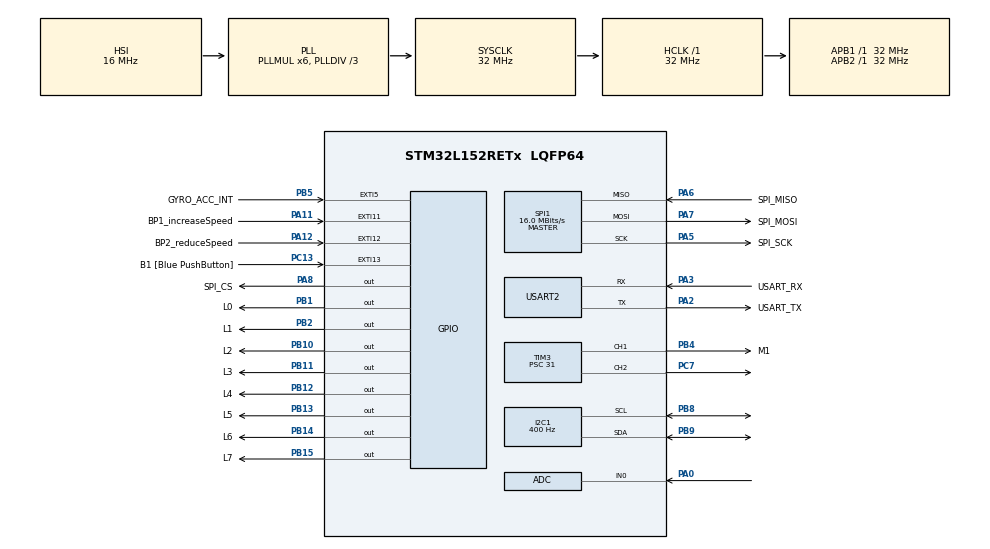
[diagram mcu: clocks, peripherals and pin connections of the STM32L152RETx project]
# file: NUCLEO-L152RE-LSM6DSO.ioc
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ADC.Channel-0\#ChannelRegularConversion=ADC_CHANNEL_0
ADC.NbrOfConversionFlag=1
ADC.Rank-0\#ChannelRegularConversion=1
ADC.SamplingTime-0\#ChannelRegularConversion=ADC_SAMPLETIME_4CYCLES
I2C1.ClockSpeed=400
I2C1.I2C_Mode=I2C_Fast
Mcu.Family=STM32L1
Mcu.Name=STM32L152RETx
Mcu.Package=LQFP64
NVIC.ADC1_IRQn=true\:0\:0\:false\:false\:true\:true\:true\:true
NVIC.EXTI15_10_IRQn=true\:0\:0\:false\:false\:true\:true\:true\:true
NVIC.EXTI9_5_IRQn=true\:0\:0\:false\:false\:true\:true\:true\:true
NVIC.PriorityGroup=NVIC_PRIORITYGROUP_0
NVIC.TIM6_IRQn=true\:0\:0\:false\:false\:true\:true\:true\:true
PA0-WKUP1.Mode=IN0
PA0-WKUP1.Signal=ADC_IN0
PA11.GPIO_Label=BP1_increaseSpeed
PA11.Signal=GPXTI11
PA12.GPIO_Label=BP2_reduceSpeed
PA12.Signal=GPXTI12
PA2.GPIO_Label=USART_TX
PA2.Mode=Asynchronous
PA2.Signal=USART2_TX
PA3.GPIO_Label=USART_RX
PA3.Mode=Asynchronous
PA3.Signal=USART2_RX
PA5.GPIO_Label=SPI_SCK
PA5.Mode=Full_Duplex_Master
PA5.Signal=SPI1_SCK
PA6.GPIO_Label=SPI_MISO
PA6.Mode=Full_Duplex_Master
PA6.Signal=SPI1_MISO
PA7.GPIO_Label=SPI_MOSI
PA7.Mode=Full_Duplex_Master
PA7.Signal=SPI1_MOSI
PA8.GPIO_Label=SPI_CS
PA8.GPIO_PuPd=GPIO_PULLUP
PA8.Signal=GPIO_Output
PB1.GPIO_Label=L0
PB1.Signal=GPIO_Output
PB10.GPIO_Label=L2
PB10.Signal=GPIO_Output
PB11.GPIO_Label=L3
PB11.Signal=GPIO_Output
PB12.GPIO_Label=L4
PB12.Signal=GPIO_Output
PB13.GPIO_Label=L5
PB13.Signal=GPIO_Output
PB14.GPIO_Label=L6
PB14.Signal=GPIO_Output
PB15.GPIO_Label=L7
PB15.Signal=GPIO_Output
PB2.GPIO_Label=L1
PB2.Signal=GPIO_Output
PB4.GPIO_Label=M1
PB4.Signal=S_TIM3_CH1
PB5.GPIO_Label=GYRO_ACC_INT
PB5.Signal=GPXTI5
PB8.Mode=I2C
PB8.Signal=I2C1_SCL
PB9.Mode=I2C
PB9.Signal=I2C1_SDA
PC13-WKUP2.GPIO_Label=B1 [Blue PushButton]
PC13-WKUP2.Signal=GPXTI13
PC7.Signal=S_TIM3_CH2
ProjectManager.HeapSize=0x200
ProjectManager.StackSize=0x400
ProjectManager.TargetToolchain=STM32CubeIDE
RCC.48MHZClocksFreq_Value=48000000
RCC.AHBFreq_Value=32000000
RCC.APB1Freq_Value=32000000
RCC.APB1TimFreq_Value=32000000
RCC.APB2Freq_Value=32000000
RCC.APB2TimFreq_Value=32000000
RCC.HCLKFreq_Value=32000000
RCC.HSE_VALUE=8000000
RCC.HSI_VALUE=16000000
RCC.LSE_VALUE=32768
RCC.MSI_VALUE=2097000
RCC.PLLDIV=RCC_PLL_DIV3
RCC.PLLMUL=RCC_PLL_MUL6
RCC.RTCClockSelectionVirtual=RCC_RTCCLKSOURCE_LSE
RCC.SYSCLKFreq_VALUE=32000000
RCC.SYSCLKSource=RCC_SYSCLKSOURCE_PLLCLK
RCC.USBOutput=48000000
RCC.VCOOutputFreq_Value=96000000
SH.S_TIM3_CH1.0=TIM3_CH1,PWM Generation1 CH1
SH.S_TIM3_CH2.0=TIM3_CH2,PWM Generation2 CH2
SPI1.CalculateBaudRate=16.0 MBits/s
SPI1.Direction=SPI_DIRECTION_2LINES
SPI1.Mode=SPI_MODE_MASTER
SPI1.VirtualType=VM_MASTER
TIM3.Channel-PWM\ Generation1\ CH1=TIM_CHANNEL_1
TIM3.Channel-PWM\ Generation2\ CH2=TIM_CHANNEL_2
TIM3.Period=2278
TIM3.Prescaler=31
TIM3.Pulse-PWM\ Generation1\ CH1=500
TIM3.Pulse-PWM\ Generation2\ CH2=1845
TIM6.Period=200
TIM6.Prescaler=31999
USART2.VirtualMode=VM_ASYNC
VP_TIM3_VS_ClockSourceINT.Mode=Internal
VP_TIM6_VS_ClockSourceINT.Mode=Enable_Timer
board=NUCLEO-L152RE

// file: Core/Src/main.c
/* USER CODE BEGIN Header */
/**
  ******************************************************************************
  * @file           : main.c
  * @brief          : Main program body
  ******************************************************************************
  * @attention
  *
  * Copyright (c) 2025 STMicroelectronics.
  * All rights reserved.
  *
  * This software is licensed under terms that can be found in the LICENSE file
  * in the root directory of this software component.
  * If no LICENSE file comes with this software, it is provided AS-IS.
  *
  ******************************************************************************
  */
/* USER CODE END Header */
#include "main.h"

/* USER CODE BEGIN Includes */
#include "lsm6dso_reg.h"
#include "knowledge.h"
#include "NanoEdgeAI.h"
#include "max7219_Yncrea2.h"

/* USER CODE END Includes */

/* USER CODE BEGIN PD */
/************************************************************ NEAI algorithm defines begin ************************************************************/
/************************************************************ Global settings part ************************************************************/
#ifndef AXIS
  #define AXIS                          3                       /* Axis should be defined between 1 and 3 */
#endif
#ifndef SAMPLES
  #define SAMPLES                       128                     /* Should be between 16 & 4096 */
#endif
#define MAX_FIFO_SIZE                   256                     /* The maximum number of data we can get in the FIFO is 512 but here we define max to 256 for our need */
#define FIFO_FULL                       512                     /* FIFO full size */
#define FIFO_WORD                       7                       /* FIFO word size composed of 1 byte which is identification tag & 6 bytes of fixed data */
/************************************************************ Sensor type part ************************************************************/
#define ACCELEROMETER                                           /* Could be either ACCELEROMETER or GYROSCOPE */
/************************************************************ Sensors configuration part ************************************************************/
#ifdef ACCELEROMETER
  #ifndef ACCELEROMETER_ODR
    #define ACCELEROMETER_ODR           LSM6DSO_XL_ODR_417Hz   /* Shoud be between LSM6DSO_XL_ODR_12Hz5 and LSM6DSO_XL_ODR_6667Hz */
  #endif
  #ifndef ACCELEROMETER_FS
    #define ACCELEROMETER_FS            LSM6DSO_4g              /* Should be between LSM6DSO_2g and LSM6DSO_16g */
  #endif
#else
  #ifndef GYROSCOPE_ODR
    #define GYROSCOPE_ODR               LSM6DSO_GY_ODR_1667Hz   /* Shoud be between LSM6DSO_GY_ODR_12Hz5 and LSM6DSO_GY_ODR_6667Hz */
  #endif
  #ifndef GYROSCOPE_FS
    #define GYROSCOPE_FS                LSM6DSO_2000dps         /* Should be between LSM6DSO_125dps and LSM6DSO_2000dps */
  #endif
#endif
/************************************************************ Datalogger / NEAI mode part ************************************************************/
#ifndef NEAI_MODE
  #define NEAI_MODE                     1                       /* 0: Datalogger mode, 1: NEAI functions mode */
#endif
// #if (NEAI_MODE == 1)
//   #ifndef NEAI_LEARN_NB
//     #define NEAI_LEARN_NB               20                      /* Number of buffers to be learn by the NEAI library */
//   #endif
// #endif
#if (NEAI_MODE)
#ifndef NB_CLASSES
#define NB_CLASSES 3 /* Number of NEAI classes */
#endif
#endif
/************************************************************ NEAI algorithm defines end ************************************************************/
/* USER CODE END PD */

ADC_HandleTypeDef hadc;

I2C_HandleTypeDef hi2c1;

SPI_HandleTypeDef hspi1;

TIM_HandleTypeDef htim3;
TIM_HandleTypeDef htim6;

UART_HandleTypeDef huart2;

/* USER CODE BEGIN PV */
static int16_t data_raw_acceleration[3];
static uint8_t whoamI, rst;
uint8_t neai_similarity = 0, neai_state = 0, first_comm = 1;
uint16_t sample_index = 0, id_class = 0;
volatile uint8_t drdy = 0;
uint16_t neai_cnt = 0, neai_buffer_ptr = 0, drdy_counter = 0;
float neai_time = 0.0;
float neai_buffer[AXIS * SAMPLES] = {0};
stmdev_ctx_t dev_ctx;
uint8_t previous_class = 0;  // Pour détecter les changements de mouvement
uint32_t last_movement_time = 0;  // Pour éviter les exécutions trop fréquentes
uint8_t debounce_flag = 0;
uint8_t flag_irq = 0;
uint32_t flag_ccr1 = 0;
uint32_t digitalValue = 0;

#if (NEAI_MODE)
static float class_output_buffer[NB_CLASSES];
const char *id2class[NB_CLASSES + 2] = {"unknown", "up-down", "forward-backward", "static", "circle"};
#endif
/* USER CODE END PV */

void SystemClock_Config(void);
static void MX_GPIO_Init(void);
static void MX_I2C1_Init(void);
static void MX_USART2_UART_Init(void);
static void MX_SPI1_Init(void);
static void MX_TIM6_Init(void);
static void MX_ADC_Init(void);
static void MX_TIM3_Init(void);
/* USER CODE BEGIN PFP */
static int32_t platform_write(void *handle, uint8_t reg, const uint8_t *bufp, uint16_t len);
static int32_t platform_read(void *handle, uint8_t reg, uint8_t *bufp, uint16_t len);
static void lsm6dso_initialize(void);
static void lsm6dso_initialize_basics(void);
static void lsm6dso_initialize_fifo(void);
static void lsm6dso_get_buffer_from_fifo(uint16_t nb);
static float lsm6dso_convert_gyro_data_to_mdps(int16_t gyro_raw_data);
static float lsm6dso_convert_accel_data_to_mg(int16_t accel_raw_data);
static void iks01a3_i2c_stuck_quirk(void);

/* USER CODE END PFP */

int main(void)
{

  /* USER CODE BEGIN 1 */
  /* Initialize mems driver interface */
  dev_ctx.write_reg = platform_write;
  dev_ctx.read_reg = platform_read;
  dev_ctx.handle = &hi2c1;
  /* USER CODE END 1 */

  /* MCU Configuration--------------------------------------------------------*/

  /* Reset of all peripherals, Initializes the Flash interface and the Systick. */
  HAL_Init();

  /* Configure the system clock */
  SystemClock_Config();

  /* USER CODE BEGIN SysInit */
  iks01a3_i2c_stuck_quirk();
  /* USER CODE END SysInit */

  /* Initialize all configured peripherals */
  MX_GPIO_Init();
  MX_I2C1_Init();
  MX_USART2_UART_Init();
  MX_SPI1_Init();
  MX_TIM6_Init();
  MX_ADC_Init();
  MX_TIM3_Init();
  /* USER CODE BEGIN 2 */
  MAX7219_Init();
  lsm6dso_initialize();
  if (NEAI_MODE) {
    neai_state = neai_classification_init(knowledge);
    printf("Initialize NEAI library. NEAI init return: %d.\n",  neai_state);
  }
  /* USER CODE END 2 */

  /* Infinite loop */
  /* USER CODE BEGIN WHILE */
  while (1)
  {
	  if (drdy) {
		  /* Reset data ready condition */
		  drdy = 0;
		  /* Read acceleration data */
		  memset(data_raw_acceleration, 0x00, 3 * sizeof(int16_t));
		  lsm6dso_acceleration_raw_get(&dev_ctx, data_raw_acceleration);
		  for (uint8_t i = 0; i < AXIS; i++) {
			  neai_buffer[(AXIS * drdy_counter) + i] = lsm6dso_convert_accel_data_to_mg(data_raw_acceleration[i]);
		  }
		  drdy_counter++;
		  if (drdy_counter >= SAMPLES) {
			  /* Set Output Data Rate */
			  lsm6dso_xl_data_rate_set(&dev_ctx, LSM6DSO_XL_ODR_OFF);
#if (NEAI_MODE)
			  neai_state = neai_classification(neai_buffer, class_output_buffer, &id_class);
			  printf("Class: %s. NEAI classification return: %d.\r\n", id2class[id_class], neai_state);
			  handleMovementActions();
#else
			  for (uint16_t i = 0; i < AXIS * SAMPLES; i++) {
				  printf("%.3f ", neai_buffer[i]);
			  }
			  printf("\r\n");
#endif
			  /* Reset drdy_counter in order to get a new buffer */
			  drdy_counter = 0;
			  /* Clean neai buffer */
			  memset(neai_buffer, 0x00, AXIS * SAMPLES * sizeof(float));
			  /* Set Output Data Rate */
			  lsm6dso_xl_data_rate_set(&dev_ctx, ACCELEROMETER_ODR);
		  }
	  }
    /* USER CODE END WHILE */

  }
}

void SystemClock_Config(void)
{
  RCC_OscInitTypeDef RCC_OscInitStruct = {0};
  RCC_ClkInitTypeDef RCC_ClkInitStruct = {0};

  /** Configure the main internal regulator output voltage
  */
  __HAL_PWR_VOLTAGESCALING_CONFIG(PWR_REGULATOR_VOLTAGE_SCALE1);

  /** Initializes the RCC Oscillators according to the specified parameters
  * in the RCC_OscInitTypeDef structure.
  */
  RCC_OscInitStruct.OscillatorType = RCC_OSCILLATORTYPE_HSI;
  RCC_OscInitStruct.HSIState = RCC_HSI_ON;
  RCC_OscInitStruct.HSICalibrationValue = RCC_HSICALIBRATION_DEFAULT;
  RCC_OscInitStruct.PLL.PLLState = RCC_PLL_ON;
  RCC_OscInitStruct.PLL.PLLSource = RCC_PLLSOURCE_HSI;
  RCC_OscInitStruct.PLL.PLLMUL = RCC_PLL_MUL6;
  RCC_OscInitStruct.PLL.PLLDIV = RCC_PLL_DIV3;
  if (HAL_RCC_OscConfig(&RCC_OscInitStruct) != HAL_OK)
  {
    Error_Handler();
  }

  /** Initializes the CPU, AHB and APB buses clocks
  */
  RCC_ClkInitStruct.ClockType = RCC_CLOCKTYPE_HCLK|RCC_CLOCKTYPE_SYSCLK
                              |RCC_CLOCKTYPE_PCLK1|RCC_CLOCKTYPE_PCLK2;
  RCC_ClkInitStruct.SYSCLKSource = RCC_SYSCLKSOURCE_PLLCLK;
  RCC_ClkInitStruct.AHBCLKDivider = RCC_SYSCLK_DIV1;
  RCC_ClkInitStruct.APB1CLKDivider = RCC_HCLK_DIV1;
  RCC_ClkInitStruct.APB2CLKDivider = RCC_HCLK_DIV1;

  if (HAL_RCC_ClockConfig(&RCC_ClkInitStruct, FLASH_LATENCY_1) != HAL_OK)
  {
    Error_Handler();
  }
}

static void MX_ADC_Init(void)
{

  ADC_ChannelConfTypeDef sConfig = {0};

  /** Configure the global features of the ADC (Clock, Resolution, Data Alignment and number of conversion)
  */
  hadc.Instance = ADC1;
  hadc.Init.ClockPrescaler = ADC_CLOCK_ASYNC_DIV1;
  hadc.Init.Resolution = ADC_RESOLUTION_12B;
  hadc.Init.DataAlign = ADC_DATAALIGN_RIGHT;
  hadc.Init.ScanConvMode = ADC_SCAN_DISABLE;
  hadc.Init.EOCSelection = ADC_EOC_SEQ_CONV;
  hadc.Init.LowPowerAutoWait = ADC_AUTOWAIT_DISABLE;
  hadc.Init.LowPowerAutoPowerOff = ADC_AUTOPOWEROFF_DISABLE;
  hadc.Init.ChannelsBank = ADC_CHANNELS_BANK_A;
  hadc.Init.ContinuousConvMode = DISABLE;
  hadc.Init.NbrOfConversion = 1;
  hadc.Init.DiscontinuousConvMode = DISABLE;
  hadc.Init.ExternalTrigConv = ADC_SOFTWARE_START;
  hadc.Init.ExternalTrigConvEdge = ADC_EXTERNALTRIGCONVEDGE_NONE;
  hadc.Init.DMAContinuousRequests = DISABLE;
  if (HAL_ADC_Init(&hadc) != HAL_OK)
  {
    Error_Handler();
  }

  /** Configure for the selected ADC regular channel its corresponding rank in the sequencer and its sample time.
  */
  sConfig.Channel = ADC_CHANNEL_0;
  sConfig.Rank = ADC_REGULAR_RANK_1;
  sConfig.SamplingTime = ADC_SAMPLETIME_4CYCLES;
  if (HAL_ADC_ConfigChannel(&hadc, &sConfig) != HAL_OK)
  {
    Error_Handler();
  }

}

static void MX_I2C1_Init(void)
{

  hi2c1.Instance = I2C1;
  hi2c1.Init.ClockSpeed = 400;
  hi2c1.Init.DutyCycle = I2C_DUTYCYCLE_2;
  hi2c1.Init.OwnAddress1 = 0;
  hi2c1.Init.AddressingMode = I2C_ADDRESSINGMODE_7BIT;
  hi2c1.Init.DualAddressMode = I2C_DUALADDRESS_DISABLE;
  hi2c1.Init.OwnAddress2 = 0;
  hi2c1.Init.GeneralCallMode = I2C_GENERALCALL_DISABLE;
  hi2c1.Init.NoStretchMode = I2C_NOSTRETCH_DISABLE;
  if (HAL_I2C_Init(&hi2c1) != HAL_OK)
  {
    Error_Handler();
  }

}

static void MX_SPI1_Init(void)
{

  /* SPI1 parameter configuration*/
  hspi1.Instance = SPI1;
  hspi1.Init.Mode = SPI_MODE_MASTER;
  hspi1.Init.Direction = SPI_DIRECTION_2LINES;
  hspi1.Init.DataSize = SPI_DATASIZE_8BIT;
  hspi1.Init.CLKPolarity = SPI_POLARITY_LOW;
  hspi1.Init.CLKPhase = SPI_PHASE_1EDGE;
  hspi1.Init.NSS = SPI_NSS_SOFT;
  hspi1.Init.BaudRatePrescaler = SPI_BAUDRATEPRESCALER_2;
  hspi1.Init.FirstBit = SPI_FIRSTBIT_MSB;
  hspi1.Init.TIMode = SPI_TIMODE_DISABLE;
  hspi1.Init.CRCCalculation = SPI_CRCCALCULATION_DISABLE;
  hspi1.Init.CRCPolynomial = 10;
  if (HAL_SPI_Init(&hspi1) != HAL_OK)
  {
    Error_Handler();
  }

}

static void MX_TIM3_Init(void)
{

  TIM_ClockConfigTypeDef sClockSourceConfig = {0};
  TIM_MasterConfigTypeDef sMasterConfig = {0};
  TIM_OC_InitTypeDef sConfigOC = {0};

  htim3.Instance = TIM3;
  htim3.Init.Prescaler = 31;
  htim3.Init.CounterMode = TIM_COUNTERMODE_UP;
  htim3.Init.Period = 2278;
  htim3.Init.ClockDivision = TIM_CLOCKDIVISION_DIV1;
  htim3.Init.AutoReloadPreload = TIM_AUTORELOAD_PRELOAD_DISABLE;
  if (HAL_TIM_Base_Init(&htim3) != HAL_OK)
  {
    Error_Handler();
  }
  sClockSourceConfig.ClockSource = TIM_CLOCKSOURCE_INTERNAL;
  if (HAL_TIM_ConfigClockSource(&htim3, &sClockSourceConfig) != HAL_OK)
  {
    Error_Handler();
  }
  if (HAL_TIM_PWM_Init(&htim3) != HAL_OK)
  {
    Error_Handler();
  }
  sMasterConfig.MasterOutputTrigger = TIM_TRGO_RESET;
  sMasterConfig.MasterSlaveMode = TIM_MASTERSLAVEMODE_DISABLE;
  if (HAL_TIMEx_MasterConfigSynchronization(&htim3, &sMasterConfig) != HAL_OK)
  {
    Error_Handler();
  }
  sConfigOC.OCMode = TIM_OCMODE_PWM1;
  sConfigOC.Pulse = 500;
  sConfigOC.OCPolarity = TIM_OCPOLARITY_HIGH;
  sConfigOC.OCFastMode = TIM_OCFAST_DISABLE;
  if (HAL_TIM_PWM_ConfigChannel(&htim3, &sConfigOC, TIM_CHANNEL_1) != HAL_OK)
  {
    Error_Handler();
  }
  sConfigOC.Pulse = 1845;
  if (HAL_TIM_PWM_ConfigChannel(&htim3, &sConfigOC, TIM_CHANNEL_2) != HAL_OK)
  {
    Error_Handler();
  }
  HAL_TIM_MspPostInit(&htim3);

}

static void MX_TIM6_Init(void)
{

  TIM_MasterConfigTypeDef sMasterConfig = {0};

  htim6.Instance = TIM6;
  htim6.Init.Prescaler = 31999;
  htim6.Init.CounterMode = TIM_COUNTERMODE_UP;
  htim6.Init.Period = 200;
  htim6.Init.AutoReloadPreload = TIM_AUTORELOAD_PRELOAD_DISABLE;
  if (HAL_TIM_Base_Init(&htim6) != HAL_OK)
  {
    Error_Handler();
  }
  sMasterConfig.MasterOutputTrigger = TIM_TRGO_RESET;
  sMasterConfig.MasterSlaveMode = TIM_MASTERSLAVEMODE_DISABLE;
  if (HAL_TIMEx_MasterConfigSynchronization(&htim6, &sMasterConfig) != HAL_OK)
  {
    Error_Handler();
  }

}

static void MX_USART2_UART_Init(void)
{

  huart2.Instance = USART2;
  huart2.Init.BaudRate = 115200;
  huart2.Init.WordLength = UART_WORDLENGTH_8B;
  huart2.Init.StopBits = UART_STOPBITS_1;
  huart2.Init.Parity = UART_PARITY_NONE;
  huart2.Init.Mode = UART_MODE_TX_RX;
  huart2.Init.HwFlowCtl = UART_HWCONTROL_NONE;
  huart2.Init.OverSampling = UART_OVERSAMPLING_16;
  if (HAL_UART_Init(&huart2) != HAL_OK)
  {
    Error_Handler();
  }

}

static void MX_GPIO_Init(void)
{
  GPIO_InitTypeDef GPIO_InitStruct = {0};

  /* GPIO Ports Clock Enable */
  __HAL_RCC_GPIOC_CLK_ENABLE();
  __HAL_RCC_GPIOA_CLK_ENABLE();
  __HAL_RCC_GPIOB_CLK_ENABLE();

  /*Configure GPIO pin Output Level */
  HAL_GPIO_WritePin(GPIOB, L0_Pin|L1_Pin|L2_Pin|L3_Pin
                          |L4_Pin|L5_Pin|L6_Pin|L7_Pin, GPIO_PIN_RESET);

  /*Configure GPIO pin Output Level */
  HAL_GPIO_WritePin(SPI_CS_GPIO_Port, SPI_CS_Pin, GPIO_PIN_RESET);

  /*Configure GPIO pin : B1_Pin */
  GPIO_InitStruct.Pin = B1_Pin;
  GPIO_InitStruct.Mode = GPIO_MODE_IT_RISING;
  GPIO_InitStruct.Pull = GPIO_NOPULL;
  HAL_GPIO_Init(B1_GPIO_Port, &GPIO_InitStruct);

  /*Configure GPIO pins : L0_Pin L1_Pin L2_Pin L3_Pin
                           L4_Pin L5_Pin L6_Pin L7_Pin */
  GPIO_InitStruct.Pin = L0_Pin|L1_Pin|L2_Pin|L3_Pin
                          |L4_Pin|L5_Pin|L6_Pin|L7_Pin;
  GPIO_InitStruct.Mode = GPIO_MODE_OUTPUT_PP;
  GPIO_InitStruct.Pull = GPIO_NOPULL;
  GPIO_InitStruct.Speed = GPIO_SPEED_FREQ_LOW;
  HAL_GPIO_Init(GPIOB, &GPIO_InitStruct);

  /*Configure GPIO pin : SPI_CS_Pin */
  GPIO_InitStruct.Pin = SPI_CS_Pin;
  GPIO_InitStruct.Mode = GPIO_MODE_OUTPUT_PP;
  GPIO_InitStruct.Pull = GPIO_PULLUP;
  GPIO_InitStruct.Speed = GPIO_SPEED_FREQ_LOW;
  HAL_GPIO_Init(SPI_CS_GPIO_Port, &GPIO_InitStruct);

  /*Configure GPIO pins : BP1_increaseSpeed_Pin BP2_reduceSpeed_Pin */
  GPIO_InitStruct.Pin = BP1_increaseSpeed_Pin|BP2_reduceSpeed_Pin;
  GPIO_InitStruct.Mode = GPIO_MODE_IT_RISING;
  GPIO_InitStruct.Pull = GPIO_NOPULL;
  HAL_GPIO_Init(GPIOA, &GPIO_InitStruct);

  /*Configure GPIO pin : GYRO_ACC_INT_Pin */
  GPIO_InitStruct.Pin = GYRO_ACC_INT_Pin;
  GPIO_InitStruct.Mode = GPIO_MODE_IT_RISING;
  GPIO_InitStruct.Pull = GPIO_NOPULL;
  HAL_GPIO_Init(GYRO_ACC_INT_GPIO_Port, &GPIO_InitStruct);

  /* EXTI interrupt init*/
  HAL_NVIC_SetPriority(EXTI9_5_IRQn, 0, 0);
  HAL_NVIC_EnableIRQ(EXTI9_5_IRQn);

  HAL_NVIC_SetPriority(EXTI15_10_IRQn, 0, 0);
  HAL_NVIC_EnableIRQ(EXTI15_10_IRQn);

}

/* USER CODE BEGIN 4 */
/**
  * @brief  Redirecting stdout to USART2 which is connected on the STLINK port
  * @retval
  * @param
  */
int __io_putchar(int ch)
{
 uint8_t c[1];
 c[0] = ch & 0x00FF;
 HAL_UART_Transmit(&huart2, &*c, 1, 10);
 return ch;
}

/**
  * @brief  EXTI line rising detection callback.
  * @param  GPIO_Pin Specifies the port pin connected to corresponding EXTI line.
  * @retval None
  */
void HAL_GPIO_EXTI_Callback(uint16_t GPIO_Pin)
{
	switch(GPIO_Pin) {
	  case GYRO_ACC_INT_Pin:
		  drdy = 1;
		  break;

	  case BP1_increaseSpeed_Pin:
		  if (!debounce_flag) {
			  debounce_flag = 1;
			  __HAL_TIM_SET_COUNTER(&htim6, 0);
			  HAL_TIM_Base_Start_IT(&htim6);
			  if(TIM3->CCR1 < 1000) {
				  TIM3->CCR1 = TIM3->CCR1 + 125;
				  printf("Motor speed:%lu\r\n", TIM3->CCR1);
			  } else {
				  printf("Motor speed at already at max speed:%lu\r\n", TIM3->CCR1);
			  }
			  flag_ccr1 = TIM3->CCR1;
		  }

	  case BP2_reduceSpeed_Pin:
		  if (!debounce_flag) {
			  debounce_flag = 1;
			  __HAL_TIM_SET_COUNTER(&htim6, 0);
			  HAL_TIM_Base_Start_IT(&htim6);
			  if(TIM3->CCR1 > 125) {
				  TIM3->CCR1 = TIM3->CCR1 - 125;
				  printf("Motor speed:%lu\r\n", TIM3->CCR1);
			  } else {
				  printf("Motor speed at already at min speed:%lu\r\n", TIM3->CCR1);
			  }
			  flag_ccr1 = TIM3->CCR1;
		  }
	}
}

/*
 * @brief  Write generic device register (platform dependent)
 *
 * @param  handle    customizable argument. In this examples is used in
 *                   order to select the correct sensor bus handler.
 * @param  reg       register to write
 * @param  bufp      pointer to data to write in register reg
 * @param  len       number of consecutive register to write
 *
 */
static int32_t platform_write(void *handle, uint8_t reg, const uint8_t *bufp,
                              uint16_t len)
{
  HAL_I2C_Mem_Write(handle, LSM6DSO_I2C_ADD_H, reg, I2C_MEMADD_SIZE_8BIT, (uint8_t*) bufp, len, 1000);
  return 0;
}

/*
 * @brief  Read generic device register (platform dependent)
 *
 * @param  handle    customizable argument. In this examples is used in
 *                   order to select the correct sensor bus handler.
 * @param  reg       register to read
 * @param  bufp      pointer to buffer that store the data read
 * @param  len       number of consecutive register to read
 *
 */
static int32_t platform_read(void *handle, uint8_t reg, uint8_t *bufp,
                             uint16_t len)
{
  HAL_I2C_Mem_Read(handle, LSM6DSO_I2C_ADD_H, reg, I2C_MEMADD_SIZE_8BIT, bufp, len, 1000);
  return 0;
}

/*
 * @brief  Initialize LSM6DSO sensor interface
 *
 * @param  No
 *
 * @return No
 *
 */
static void lsm6dso_initialize()
{
  lsm6dso_initialize_basics();
#ifdef ACCELEROMETER
  /* Accelelerometer configuration */
  lsm6dso_xl_data_rate_set(&dev_ctx, ACCELEROMETER_ODR);
  lsm6dso_xl_full_scale_set(&dev_ctx, ACCELEROMETER_FS);
#else
  /* Gyroscope configuration */
  lsm6dso_gy_data_rate_set(&dev_ctx, GYROSCOPE_ODR);
  lsm6dso_gy_full_scale_set(&dev_ctx, GYROSCOPE_FS);
#endif
  lsm6dso_initialize_fifo();
}

/*
 * @brief  Initialize LSM6DSO basics
 *
 * @param  No
 *
 * @return No
 *
 */
static void lsm6dso_initialize_basics()
{
  /* Check device ID */
  whoamI = 0;

  do {
    HAL_Delay(20);
    lsm6dso_device_id_get(&dev_ctx, &whoamI);
  } while(whoamI != LSM6DSO_ID);

  /* Restore default configuration */
  lsm6dso_reset_set(&dev_ctx, PROPERTY_ENABLE);

  do {
    lsm6dso_reset_get(&dev_ctx, &rst);
  } while (rst);

  /* Disable I3C interface */
  lsm6dso_i3c_disable_set(&dev_ctx, LSM6DSO_I3C_DISABLE);
}

/*
 * @brief  Initialize LSM6DSO internal FIFO
 *
 * @param  No
 *
 * @return No
 *
 */
static void lsm6dso_initialize_fifo()
{
#ifdef ACCELEROMETER
  /* Batch odr config */
  lsm6dso_fifo_xl_batch_set(&dev_ctx, ACCELEROMETER_ODR);
  lsm6dso_fifo_gy_batch_set(&dev_ctx, 0);
#else
  /* Batch odr config */
  lsm6dso_fifo_xl_batch_set(&dev_ctx, 0);
  lsm6dso_fifo_gy_batch_set(&dev_ctx, GYROSCOPE_ODR);
#endif
  /* FIFO MODE */
  lsm6dso_fifo_mode_set(&dev_ctx, LSM6DSO_FIFO_MODE);
  /* Watermark config */
  if (SAMPLES <= MAX_FIFO_SIZE) {
    lsm6dso_fifo_watermark_set(&dev_ctx, (uint16_t) SAMPLES);
  }
  else {
    lsm6dso_fifo_watermark_set(&dev_ctx, (uint16_t) MAX_FIFO_SIZE);
  }
  /* Need to enable interrupt pin when wtm is reached */
  uint8_t ctrl = 0x08;
  lsm6dso_write_reg(&dev_ctx, LSM6DSO_INT1_CTRL, (uint8_t *) &ctrl, 1);

  /* Configuration de l'interrupt DATA_READY sur INT1 */
  lsm6dso_pin_int1_route_t int1_route = {0};
  int1_route.drdy_xl = 1;  // Active l'interrupt data-ready pour l'accéléromètre
  lsm6dso_pin_int1_route_set(&dev_ctx, int1_route);

  printf("Interrupt DATA_READY configuree sur INT1\n");
}

/*
 * @brief  Get accelerometer or gyroscope data from
 *         LSM6DSO using the internal FIFO buffer
 *
 * @param  No
 *
 * @return No
 *
 */
static void lsm6dso_get_buffer_from_fifo(uint16_t nb)
{
  uint8_t reg_tag = 0;
  uint8_t buff_tmp[nb * FIFO_WORD];
  /*
   * The data stored in FIFO are accessible from dedicated registers and each FIFO word is composed of 7
   * bytes: one tag byte (FIFO_DATA_OUT_TAG (78h)), in order to identify the sensor, and 6 bytes of fixed data
   * (FIFO_DATA_OUT registers from (79h) to (7Eh))
   * So, here we read the fifo in only one transaction in order to save time
   */
  lsm6dso_read_reg(&dev_ctx, LSM6DSO_FIFO_DATA_OUT_TAG, buff_tmp, nb * FIFO_WORD);
  for (uint16_t i = 0; i < nb; i++) {
    /* According to the datasheet, the TAG_SENSOR is the 5 MSB of the FIFO_DATA_OUT_TAG register, so we shift 3 bits to the right */
    reg_tag = buff_tmp[FIFO_WORD * i] >> 3;
    if(reg_tag == LSM6DSO_XL_NC_TAG) {
      for(uint8_t j = 0; j < AXIS; j++) {
	neai_buffer[(AXIS * neai_buffer_ptr) + (AXIS * i) + j] = lsm6dso_convert_accel_data_to_mg((uint16_t) buff_tmp[(FIFO_WORD * i) + (2 * j) + 2] << 8 | buff_tmp[(FIFO_WORD * i) + (2 * j) + 1]);
      }
    }
    else if(reg_tag == LSM6DSO_GYRO_NC_TAG) {
    for(uint8_t j = 0; j < AXIS; j++) {
      neai_buffer[(AXIS * neai_buffer_ptr) + (AXIS * i) + j] = lsm6dso_convert_gyro_data_to_mdps((uint16_t) buff_tmp[(FIFO_WORD * i) + (2 * j) + 2] << 8 | buff_tmp[(FIFO_WORD * i) + (2 * j) + 1]);
    }
    }
  }
  neai_buffer_ptr += nb;
  if (neai_buffer_ptr == SAMPLES) {
    neai_buffer_ptr = 0;
  }
}

/*
 * @brief  Convert gyroscope raw data to milli degrees per second (mdps)
 *
 * @param  gyro_raw_data: which is gyroscope raw data
 *                        depending on the full scale selected
 *
 * @return The converted value in milli degrees per second (mdps)
 *
 */
static float lsm6dso_convert_gyro_data_to_mdps(int16_t gyro_raw_data)
{
  float gyro_data_mdps = 0.0;
#ifdef GYROSCOPE
  switch (GYROSCOPE_FS)
  {
  case LSM6DSO_125dps:
    gyro_data_mdps = lsm6dso_from_fs125_to_mdps(gyro_raw_data);
    break;
  case LSM6DSO_250dps:
    gyro_data_mdps = lsm6dso_from_fs250_to_mdps(gyro_raw_data);
    break;
  case LSM6DSO_500dps:
    gyro_data_mdps = lsm6dso_from_fs500_to_mdps(gyro_raw_data);
    break;
  case LSM6DSO_1000dps:
    gyro_data_mdps = lsm6dso_from_fs1000_to_mdps(gyro_raw_data);
    break;
  case LSM6DSO_2000dps:
    gyro_data_mdps = lsm6dso_from_fs2000_to_mdps(gyro_raw_data);
    break;
  default:
    gyro_data_mdps = 0.0;
    break;
  }
#endif
  return gyro_data_mdps;
}

/*
 * @brief  Convert accelerometer raw data to milli-G' (mg)
 *
 * @param  accel_raw_data: which is accelerometer raw data
 *                        depending on the full scale selected
 *
 * @return The converted value in milli-G' (mg)
 *
 */
static float lsm6dso_convert_accel_data_to_mg(int16_t accel_raw_data)
{
  float accel_data_mg = 0.0;
#ifdef ACCELEROMETER
  switch (ACCELEROMETER_FS)
  {
  case LSM6DSO_2g:
    accel_data_mg = lsm6dso_from_fs2_to_mg(accel_raw_data);
    break;
  case LSM6DSO_4g:
    accel_data_mg = lsm6dso_from_fs4_to_mg(accel_raw_data);
    break;
  case LSM6DSO_8g:
    accel_data_mg = lsm6dso_from_fs8_to_mg(accel_raw_data);
    break;
  case LSM6DSO_16g:
    accel_data_mg = lsm6dso_from_fs16_to_mg(accel_raw_data);
    break;
  default:
    accel_data_mg = 0.0;
    break;
  }
#endif
  return accel_data_mg;
}

/*
 * Pressing the reset button while the sensor is answering to a read request
 * might lead to disaster.
 * In this case the device is stuck, waiting for pulses on SCL to finish the
 * previous transfer.
 * While stuck the sensor keep the SDA low.
 *
 * As a workaround we simply configure the SCL pin as a GPIO and send a burst
 * of pulses to bring the sensor back to an idle state.
 */
static void iks01a3_i2c_stuck_quirk(void)
{
  GPIO_InitTypeDef GPIO_InitStruct = {0};

  /* GPIO Ports Clock Enable */
  __HAL_RCC_GPIOB_CLK_ENABLE();

  /* Configure SCL as a GPIO */
  GPIO_InitStruct.Pin = SCL_PIN;
  GPIO_InitStruct.Mode = GPIO_MODE_OUTPUT_PP;
  GPIO_InitStruct.Pull = GPIO_NOPULL;
  GPIO_InitStruct.Speed = GPIO_SPEED_FREQ_LOW;
  GPIO_InitStruct.Alternate = GPIO_AF4_I2C1;
  HAL_GPIO_Init(SCL_PORT, &GPIO_InitStruct);

  /* Send a burst of pulses on SCL */
  int pulses = 20;
  do {
    HAL_Delay(1);
    HAL_GPIO_WritePin(SCL_PORT, SCL_PIN, GPIO_PIN_RESET);
    HAL_Delay(1);
    HAL_GPIO_WritePin(SCL_PORT, SCL_PIN, GPIO_PIN_SET);
  } while (pulses--);

  /* GPIO Ports Clock Enable */
  __HAL_RCC_GPIOB_CLK_DISABLE();
}

void clearAllLEDs(void) {
    uint16_t L_Pin[8] = {L0_Pin, L1_Pin, L2_Pin, L3_Pin, L4_Pin, L5_Pin, L6_Pin, L7_Pin};
    for (int i = 0; i < 8; i++) {
        HAL_GPIO_WritePin(L0_GPIO_Port, L_Pin[i], GPIO_PIN_RESET);
    }
    MAX7219_Clear();
}

void upDownSequence(void) {
	uint16_t L_Pin[8] = {L0_Pin, L1_Pin, L2_Pin, L3_Pin, L4_Pin, L5_Pin, L6_Pin, L7_Pin};

	MAX7219_DisplayChar(1, 'U');
	MAX7219_DisplayChar(2, 'P');
	MAX7219_DisplayChar(3, 'D');
	MAX7219_DisplayChar(4, 'O');

	HAL_GPIO_WritePin(L0_GPIO_Port, L0_Pin, GPIO_PIN_SET);
	HAL_GPIO_WritePin(L1_GPIO_Port, L1_Pin, GPIO_PIN_RESET);
	HAL_GPIO_WritePin(L2_GPIO_Port, L2_Pin, GPIO_PIN_SET);
	HAL_GPIO_WritePin(L3_GPIO_Port, L3_Pin, GPIO_PIN_RESET);
	HAL_GPIO_WritePin(L4_GPIO_Port, L4_Pin, GPIO_PIN_SET);
	HAL_GPIO_WritePin(L5_GPIO_Port, L5_Pin, GPIO_PIN_RESET);
	HAL_GPIO_WritePin(L6_GPIO_Port, L6_Pin, GPIO_PIN_SET);
	HAL_GPIO_WritePin(L7_GPIO_Port, L7_Pin, GPIO_PIN_RESET);

	for (int i = 0; i < 8; i++) {
		for (int j = 0; j < 8; j++) {
			HAL_GPIO_TogglePin(L0_GPIO_Port, L_Pin[j]);
		}
		HAL_Delay(500);
	}

	HAL_GPIO_WritePin(L0_GPIO_Port, L0_Pin, GPIO_PIN_RESET);
	HAL_GPIO_WritePin(L1_GPIO_Port, L1_Pin, GPIO_PIN_RESET);
	HAL_GPIO_WritePin(L2_GPIO_Port, L2_Pin, GPIO_PIN_RESET);
	HAL_GPIO_WritePin(L3_GPIO_Port, L3_Pin, GPIO_PIN_RESET);
	HAL_GPIO_WritePin(L4_GPIO_Port, L4_Pin, GPIO_PIN_RESET);
	HAL_GPIO_WritePin(L5_GPIO_Port, L5_Pin, GPIO_PIN_RESET);
	HAL_GPIO_WritePin(L6_GPIO_Port, L6_Pin, GPIO_PIN_RESET);
	HAL_GPIO_WritePin(L7_GPIO_Port, L7_Pin, GPIO_PIN_RESET);
}

void staticSequence(void) {
	uint16_t L_Pin[8] = {L0_Pin, L1_Pin, L2_Pin, L3_Pin, L4_Pin, L5_Pin, L6_Pin, L7_Pin};

	MAX7219_DisplayChar(1, 'S');
	MAX7219_DisplayChar(2, 'T');
	MAX7219_DisplayChar(3, 'A');
	MAX7219_DisplayChar(4, 'T');
	for (int i = 0; i < 8; i++) {
		HAL_GPIO_WritePin(L0_GPIO_Port, L_Pin[i], GPIO_PIN_SET);
	}
}

void forwardBackwardSequence(void) {
	uint16_t L_Pin[8] = {L0_Pin, L1_Pin, L2_Pin, L3_Pin, L4_Pin, L5_Pin, L6_Pin, L7_Pin};

	MAX7219_DisplayChar(1, 'F');
	MAX7219_DisplayChar(2, 'O');
	MAX7219_DisplayChar(3, 'B');
	MAX7219_DisplayChar(4, 'A');

	for (int i = 0; i < 2; i++) {
		for (int j = 7; j > -1; j--) {
			HAL_GPIO_TogglePin(L0_GPIO_Port, L_Pin[j]);
			HAL_Delay(50);
		}
	}
	for (int i = 0; i < 2; i++) {
		for (int j = 0; j < 8; j++) {
			HAL_GPIO_TogglePin(L0_GPIO_Port, L_Pin[j]);
			HAL_Delay(50);
		}
	}
}

void circleSequence(void) {
	uint16_t L_Pin[8] = {L0_Pin, L1_Pin, L2_Pin, L3_Pin, L4_Pin, L5_Pin, L6_Pin, L7_Pin};

	MAX7219_DisplayChar(1, 'C');
	MAX7219_DisplayChar(2, 'I');
	MAX7219_DisplayChar(3, 'R');
	MAX7219_DisplayChar(4, 'C');

	HAL_TIM_PWM_Start_IT(&htim3, TIM_CHANNEL_2);
	HAL_Delay(500);
	HAL_TIM_PWM_Stop_IT(&htim3, TIM_CHANNEL_2);
	HAL_Delay(500);
	HAL_TIM_PWM_Start_IT(&htim3, TIM_CHANNEL_2);
	HAL_Delay(500);
	HAL_TIM_PWM_Stop_IT(&htim3, TIM_CHANNEL_2);
	HAL_Delay(500);

	HAL_TIM_PWM_Start_IT(&htim3, TIM_CHANNEL_1);
	HAL_Delay(500);
	HAL_TIM_PWM_Stop_IT(&htim3, TIM_CHANNEL_1);
	HAL_Delay(500);
	HAL_TIM_PWM_Start_IT(&htim3, TIM_CHANNEL_1);
	HAL_Delay(500);
	HAL_TIM_PWM_Stop_IT(&htim3, TIM_CHANNEL_1);
	HAL_Delay(500);

}

/* Fonction principale de gestion des mouvements */
void handleMovementActions(void) {
    uint32_t current_time = HAL_GetTick();
    uint8_t buzzerState = 0;
    uint8_t motorState = 0;

    buzzer(buzzerState);
    motor(motorState);

    // Éviter les exécutions trop fréquentes (minimum 2 secondes entre les actions)
    if (current_time - last_movement_time < 2000) {
        return;
    }
	clearAllLEDs();  // Nettoyer l'affichage précédent
	HAL_Delay(100);

	// Exécuter l'action correspondant au mouvement détecté
	switch(id_class) {
		case 1: // "up-down"
			buzzerState = 1;
			motorState = 0;
			buzzer(buzzerState);
			upDownSequence();
			break;

		case 2: // "forward-backward"
			buzzerState = 0;
			motorState = 1;
			motor(motorState);
			forwardBackwardSequence();
			break;

		case 3: // "static"
			buzzerState = 0;
			motorState = 0;
			buzzer(buzzerState);
			motor(motorState);
			staticSequence();
			break;

		case 4: // "circle"
			buzzerState = 0;
			motorState = 0;
			circleSequence();
			break;

		case 0: // "unknown"
		default:
			// unknownSequence();
			buzzerState = 0;
			motorState = 0;
			break;
	}

	adcFunction();

	previous_class = id_class;
	last_movement_time = current_time;
}

void buzzer(uint8_t buzzerState) {
	if(buzzerState) {
		HAL_TIM_PWM_Start_IT(&htim3, TIM_CHANNEL_2);
	} else {
		HAL_TIM_PWM_Stop_IT(&htim3, TIM_CHANNEL_2);
	}
}

void motor(uint8_t motorState) {
	if (motorState) {
		HAL_TIM_PWM_Start_IT(&htim3, TIM_CHANNEL_1);
	} else {
		HAL_TIM_PWM_Stop_IT(&htim3, TIM_CHANNEL_1);
	}
}

void TIM3_IRQ(void) {
	HAL_GPIO_TogglePin(L1_GPIO_Port, L1_Pin);
	if (flag_irq) {
		flag_irq = 0;
	} else {
		flag_irq = 1;
	}
}

void adcFunction(void) {
	HAL_ADC_Start_IT(&hadc);
	HAL_ADC_PollForConversion(&hadc, 1000);
	digitalValue = HAL_ADC_GetValue(&hadc);
	HAL_ADC_Stop_IT(&hadc);
	printf("Digital value:%lu\r\n", digitalValue);
	if(digitalValue > 0) {
		__HAL_TIM_SET_COMPARE(&htim3, TIM_CHANNEL_2, 1845 * 0);
	}

	if(digitalValue > 300) {
		__HAL_TIM_SET_COMPARE(&htim3, TIM_CHANNEL_2, 1845 * 0.1);
	}

	if(digitalValue > 600) {
		__HAL_TIM_SET_COMPARE(&htim3, TIM_CHANNEL_2, 1845 * 0.2);
	}

	if(digitalValue > 900) {
		__HAL_TIM_SET_COMPARE(&htim3, TIM_CHANNEL_2, 1845 * 0.3);
	}

	if(digitalValue > 1200) {
		__HAL_TIM_SET_COMPARE(&htim3, TIM_CHANNEL_2, 1845 * 0.4);
	}

	if(digitalValue > 1500) {
		__HAL_TIM_SET_COMPARE(&htim3, TIM_CHANNEL_2, 1845 * 0.5);
	}

	if(digitalValue > 1800) {
		__HAL_TIM_SET_COMPARE(&htim3, TIM_CHANNEL_2, 1845 * 0.6);
	}

	if(digitalValue > 2100) {
		__HAL_TIM_SET_COMPARE(&htim3, TIM_CHANNEL_2, 1845 * 0.7);
	}

	if(digitalValue > 2400) {
		__HAL_TIM_SET_COMPARE(&htim3, TIM_CHANNEL_2, 1845 * 0.8);
	}

	if(digitalValue > 2700) {
		__HAL_TIM_SET_COMPARE(&htim3, TIM_CHANNEL_2, 1845 * 0.9);
	}

	if(digitalValue > 3000) {
		__HAL_TIM_SET_COMPARE(&htim3, TIM_CHANNEL_2, 1845 * 1);
	}
}

/* USER CODE END 4 */

void Error_Handler(void)
{
  __disable_irq();
  while (1)
  {
  }
}
